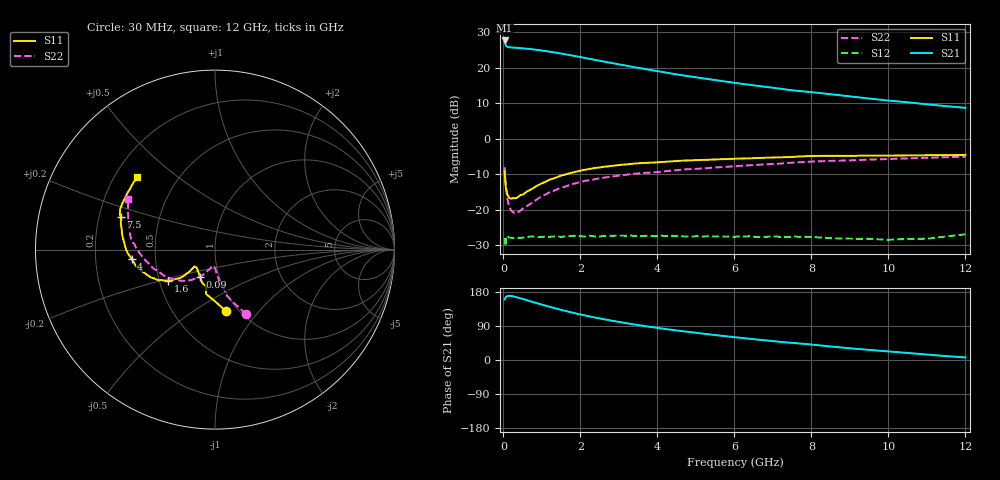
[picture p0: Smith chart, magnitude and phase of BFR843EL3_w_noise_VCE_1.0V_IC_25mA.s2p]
! Infineon Technologies  Discrete & RF Semiconductors
! BFR843EL3
! VCE =  1.0 V,  IC =  25 mA
! Common Emitter S-Parameters:  Aug 2013
# GHz  S  MA  R  50
!  f  S11  S21  S12  S22
! GHz  MAG  ANG  MAG  ANG  MAG  ANG  MAG  ANG
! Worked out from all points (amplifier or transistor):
!   103 points, 30 MHz to 12 GHz, reference 50 ohm
!   highest |S21| = 27.7 dB at 30 MHz (marker M1)
!   |S21| within 3 dB of that: start of sweep to 1.1 GHz
!   unconditionally stable (mu >= 1): 205.8 MHz to 503.6 MHz; 3.841 GHz to end of sweep
!   at 400 MHz: K = 1.00, MAG = 26.3 dB, |S12| = -27.9 dB
!   at 3.7 GHz: K = 0.99, MSG = 23.5 dB, |S12| = -27.3 dB
!   at 12 GHz: K = 1.97, MAG = 12.2 dB, |S12| = -26.9 dB
!   lowest NFmin = 1.21 dB at 450 MHz
!   S11 on the Smith chart (normalised r, x): 30 MHz: 0.88, -0.69; 90 MHz: 0.81, -0.26; 1.6 GHz: 0.55, -0.21; 4 GHz: 0.36, -0.05; 7.5 GHz: 0.29, +0.16; 12 GHz: 0.29, +0.36
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0.03  0.3497 -79.7  24.27 160.1  0.0372 29.3  0.399 -64.2
0.04  0.2877 -90.1  22.52 162.0  0.0392 20.2  0.3176 -70.3
0.06  0.2108 -103.6  20.78 165.5  0.0359 21.0  0.2238 -77.5
0.09  0.1745 -118.2  19.98 168.1  0.0408 10.6  0.1592 -83.3
0.15  0.1484 -130.0  19.5 169.5  0.0408 8.0  0.112 -88.5
0.2  0.1439 -135.5  19.35 169.0  0.0406 5.8  0.0984 -91.0
0.6  0.18 -139.2  18.61 158.1  0.0414 3.3  0.1128 -105.3
1  0.2364 -140.2  17.5 146.1  0.0419 3.3  0.1564 -115.5
1.3  0.2771 -143.6  16.53 137.7  0.0425 4.4  0.1852 -122.7
1.6  0.3143 -146.7  15.53 129.8  0.0423 3.7  0.212 -127.3
2.1  0.3661 -152.9  13.82 117.9  0.0424 3.0  0.2556 -137.2
2.6  0.4056 -159.6  12.29 107.7  0.0432 3.6  0.284 -144.5
3  0.4276 -164.0  11.18 100.5  0.0435 4.8  0.3037 -149.5
3.5  0.4534 -169.3  9.99 92.2  0.0435 4.1  0.3263 -155.3
4  0.4676 -173.9  8.988 84.7  0.0428 4.6  0.3411 -159.9
4.1  0.4714 -174.7  8.8 83.4  0.0435 5.5  0.3448 -160.6
5.1  0.5038 176.8  7.223 70.5  0.0425 5.4  0.3817 -169.2
6.1  0.5277 169.7  6.055 59.2  0.0424 6.4  0.416 -176.2
7.5  0.5561 160.8  4.829 45.3  0.0424 10.2  0.4627 174.4
8.5  0.5772 153.1  4.249 35.6  0.04 10.9  0.4907 166.8
10.5  0.5852 142.5  3.274 18.6  0.0391 21.4  0.532 156.0
12  0.5949 137.0  2.735 6.8  0.0454 31.9  0.562 149.7
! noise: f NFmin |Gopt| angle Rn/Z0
0.45  1.21  0.13  160  0.13
0.9  1.21  0.13  156  0.12
1.5  1.22  0.15  155  0.11
1.9  1.23  0.15  157  0.11
2.4  1.24  0.16  161  0.11
3.5  1.25  0.18  167  0.11
5.5  1.27  0.25  184  0.1
8  1.29  0.35  202  0.09
10  1.32  0.47  222  0.09
